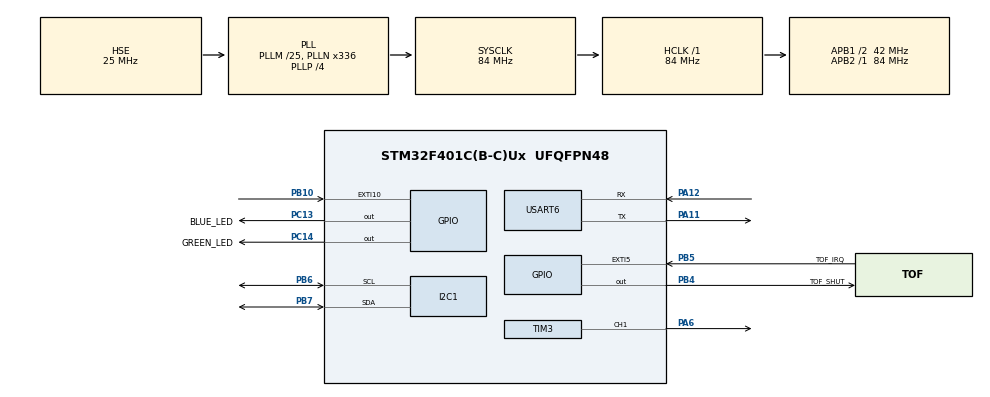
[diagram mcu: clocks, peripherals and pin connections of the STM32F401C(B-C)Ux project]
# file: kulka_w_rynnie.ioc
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FREERTOS.Tasks01=defaultTask,24,128,StartDefaultTask,Default,NULL,Dynamic,NULL,NULL
FREERTOS.configCHECK_FOR_STACK_OVERFLOW=1
FREERTOS.configENABLE_FPU=0
FREERTOS.configGENERATE_RUN_TIME_STATS=1
FREERTOS.configRECORD_STACK_HIGH_ADDRESS=1
FREERTOS.configUSE_STATS_FORMATTING_FUNCTIONS=1
I2C1.I2C_Mode=I2C_Standard
Mcu.Family=STM32F4
Mcu.Name=STM32F401C(B-C)Ux
Mcu.Package=UFQFPN48
NVIC.EXTI15_10_IRQn=true\:5\:0\:true\:false\:true\:true\:true\:true\:true
NVIC.EXTI9_5_IRQn=true\:5\:0\:false\:false\:true\:true\:true\:true\:true
NVIC.PriorityGroup=NVIC_PRIORITYGROUP_4
NVIC.TIM2_IRQn=true\:15\:0\:true\:false\:true\:false\:false\:true\:true
NVIC.TimeBase=TIM2_IRQn
NVIC.TimeBaseIP=TIM2
PA11.Mode=Asynchronous
PA11.Signal=USART6_TX
PA12.Mode=Asynchronous
PA12.Signal=USART6_RX
PA6.Signal=S_TIM3_CH1
PB10.Signal=GPXTI10
PB4.GPIO_Label=TOF_SHUT
PB4.PinState=GPIO_PIN_SET
PB4.Signal=GPIO_Output
PB5.GPIO_Label=TOF_IRQ
PB5.GPIO_PuPd=GPIO_PULLDOWN
PB5.Signal=GPXTI5
PB6.Mode=I2C
PB6.Signal=I2C1_SCL
PB7.Mode=I2C
PB7.Signal=I2C1_SDA
PC13-ANTI_TAMP.GPIO_Label=BLUE_LED
PC13-ANTI_TAMP.PinState=GPIO_PIN_SET
PC13-ANTI_TAMP.Signal=GPIO_Output
PC14-OSC32_IN.GPIO_Label=GREEN_LED
PC14-OSC32_IN.Signal=GPIO_Output
PH0\ -\ OSC_IN.Mode=HSE-External-Oscillator
PH0\ -\ OSC_IN.Signal=RCC_OSC_IN
PH1\ -\ OSC_OUT.Mode=HSE-External-Oscillator
PH1\ -\ OSC_OUT.Signal=RCC_OSC_OUT
ProjectManager.HeapSize=0x1500
ProjectManager.StackSize=0x1600
ProjectManager.TargetToolchain=Makefile
RCC.48MHZClocksFreq_Value=48000000
RCC.AHBFreq_Value=84000000
RCC.APB1CLKDivider=RCC_HCLK_DIV2
RCC.APB1Freq_Value=42000000
RCC.APB1TimFreq_Value=84000000
RCC.APB2Freq_Value=84000000
RCC.APB2TimFreq_Value=84000000
RCC.CortexFreq_Value=84000000
RCC.HCLKFreq_Value=84000000
RCC.HSE_VALUE=25000000
RCC.HSI_VALUE=16000000
RCC.LSE_VALUE=32768
RCC.PLLM=25
RCC.PLLN=336
RCC.PLLP=RCC_PLLP_DIV4
RCC.PLLQ=7
RCC.PLLSourceVirtual=RCC_PLLSOURCE_HSE
RCC.SYSCLKFreq_VALUE=84000000
RCC.SYSCLKSource=RCC_SYSCLKSOURCE_PLLCLK
RCC.VCOOutputFreq_Value=336000000
SH.S_TIM3_CH1.0=TIM3_CH1,PWM Generation1 CH1
TIM3.Channel-PWM\ Generation1\ CH1=TIM_CHANNEL_1
TIM5.Period=3000-1
TIM5.Prescaler=84-1
USART6.VirtualMode=VM_ASYNC
VP_FREERTOS_VS_CMSIS_V2.Mode=CMSIS_V2
VP_SYS_VS_tim2.Mode=TIM2
VP_TIM3_VS_ClockSourceINT.Mode=Internal
VP_TIM5_VS_ClockSourceINT.Mode=Internal
board=custom

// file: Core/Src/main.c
/* USER CODE BEGIN Header */
/**
  ******************************************************************************
  * @file           : main.c
  * @brief          : Main program body
  ******************************************************************************
  * @attention
  *
  * Copyright (c) 2023 STMicroelectronics.
  * All rights reserved.
  *
  * This software is licensed under terms that can be found in the LICENSE file
  * in the root directory of this software component.
  * If no LICENSE file comes with this software, it is provided AS-IS.
  *
  ******************************************************************************
  */
/* USER CODE END Header */
#include "main.h"
#include "cmsis_os.h"
#include "i2c.h"
#include "tim.h"
#include "usart.h"
#include "gpio.h"

/* USER CODE BEGIN Includes */
#include "stdio.h"
#include "vl53l0x_api.h"
#include "mpu6050.h"
/* USER CODE END Includes */

/* USER CODE BEGIN PV */
uint8_t test = 123;
uint8_t whoami = 0;
int16_t gyro_x_raw = 0;
float gyro_scale = 0;
float gyro_x_scaled = 0;
int16_t accel_x_raw = 0;
float accel_scale = 0.0610352;
float accel_x_scaled = 0;

extern VL53L0X_Error Status;

extern VL53L0X_Dev_t  vl53l0x_c; // center module
extern VL53L0X_DEV    Dev;
extern  uint32_t refSpadCount;
extern  uint8_t isApertureSpads;
extern  uint8_t VhvSettings;
extern  uint8_t PhaseCal;
/* USER CODE END PV */

void SystemClock_Config(void);
void MX_FREERTOS_Init(void);

int main(void)
{

  /* MCU Configuration--------------------------------------------------------*/

  /* Reset of all peripherals, Initializes the Flash interface and the Systick. */
  HAL_Init();

  /* Configure the system clock */
  SystemClock_Config();

  /* Initialize all configured peripherals */
  MX_GPIO_Init();
  MX_I2C1_Init();
  MX_TIM3_Init();
  MX_USART6_UART_Init();
  MX_TIM5_Init();
  /* USER CODE BEGIN 2 */
  HAL_TIM_Base_Start(&htim5);
  HAL_Delay(50);

  /* USER CODE END 2 */

  /* Init scheduler */
  osKernelInitialize();

  /* Call init function for freertos objects (in freertos.c) */
  MX_FREERTOS_Init();

  /* Start scheduler */
  osKernelStart();

  /* We should never get here as control is now taken by the scheduler */
  /* Infinite loop */
  while (1)
  {

  }
}

void SystemClock_Config(void)
{
  RCC_OscInitTypeDef RCC_OscInitStruct = {0};
  RCC_ClkInitTypeDef RCC_ClkInitStruct = {0};

  /** Configure the main internal regulator output voltage
  */
  __HAL_RCC_PWR_CLK_ENABLE();
  __HAL_PWR_VOLTAGESCALING_CONFIG(PWR_REGULATOR_VOLTAGE_SCALE2);

  /** Initializes the RCC Oscillators according to the specified parameters
  * in the RCC_OscInitTypeDef structure.
  */
  RCC_OscInitStruct.OscillatorType = RCC_OSCILLATORTYPE_HSE;
  RCC_OscInitStruct.HSEState = RCC_HSE_ON;
  RCC_OscInitStruct.PLL.PLLState = RCC_PLL_ON;
  RCC_OscInitStruct.PLL.PLLSource = RCC_PLLSOURCE_HSE;
  RCC_OscInitStruct.PLL.PLLM = 25;
  RCC_OscInitStruct.PLL.PLLN = 336;
  RCC_OscInitStruct.PLL.PLLP = RCC_PLLP_DIV4;
  RCC_OscInitStruct.PLL.PLLQ = 7;
  if (HAL_RCC_OscConfig(&RCC_OscInitStruct) != HAL_OK)
  {
    Error_Handler();
  }

  /** Initializes the CPU, AHB and APB buses clocks
  */
  RCC_ClkInitStruct.ClockType = RCC_CLOCKTYPE_HCLK|RCC_CLOCKTYPE_SYSCLK
                              |RCC_CLOCKTYPE_PCLK1|RCC_CLOCKTYPE_PCLK2;
  RCC_ClkInitStruct.SYSCLKSource = RCC_SYSCLKSOURCE_PLLCLK;
  RCC_ClkInitStruct.AHBCLKDivider = RCC_SYSCLK_DIV1;
  RCC_ClkInitStruct.APB1CLKDivider = RCC_HCLK_DIV2;
  RCC_ClkInitStruct.APB2CLKDivider = RCC_HCLK_DIV1;

  if (HAL_RCC_ClockConfig(&RCC_ClkInitStruct, FLASH_LATENCY_2) != HAL_OK)
  {
    Error_Handler();
  }
}

/* USER CODE BEGIN 4 */
int _write(int file, char* data, int len)
{
  if(HAL_UART_Transmit(&huart6, (uint8_t*)data, len, 1000) == 0)
    return len;
  else
    return -1;
}
/* USER CODE END 4 */

void HAL_TIM_PeriodElapsedCallback(TIM_HandleTypeDef *htim)
{
  if (htim->Instance == TIM2) {
    HAL_IncTick();
  }
}

void Error_Handler(void)
{
  __disable_irq();
  while (1)
  {
  }
}

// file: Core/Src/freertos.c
/* USER CODE BEGIN Header */
/**
  ******************************************************************************
  * File Name          : freertos.c
  * Description        : Code for freertos applications
  ******************************************************************************
  * @attention
  *
  * Copyright (c) 2023 STMicroelectronics.
  * All rights reserved.
  *
  * This software is licensed under terms that can be found in the LICENSE file
  * in the root directory of this software component.
  * If no LICENSE file comes with this software, it is provided AS-IS.
  *
  ******************************************************************************
  */
/* USER CODE END Header */

#include "FreeRTOS.h"
#include "task.h"
#include "main.h"
#include "cmsis_os.h"

/* USER CODE BEGIN Includes */
#include "queue.h"
#include "stream_buffer.h"
#include "application_tasks.h"
#include "vl53l0x_api.h"
/* USER CODE END Includes */

/* USER CODE BEGIN Variables */
  TaskHandle_t mediator_task_handle, taskh, mpu_task_handle;
  QueueHandle_t message_queue;
  StreamBufferHandle_t isr_to_pid;
/* USER CODE END Variables */
/* Definitions for defaultTask */
osThreadId_t defaultTaskHandle;
const osThreadAttr_t defaultTask_attributes = {
  .name = "defaultTask",
  .stack_size = 128 * 4,
  .priority = (osPriority_t) osPriorityNormal,
};

void StartDefaultTask(void *argument);

void MX_FREERTOS_Init(void); /* (MISRA C 2004 rule 8.1) */

/* Hook prototypes */
void configureTimerForRunTimeStats(void);
unsigned long getRunTimeCounterValue(void);
void vApplicationStackOverflowHook(xTaskHandle xTask, signed char *pcTaskName);

/* USER CODE BEGIN 1 */
/* Functions needed when configGENERATE_RUN_TIME_STATS is on */
__weak void configureTimerForRunTimeStats(void)
{

}

__weak unsigned long getRunTimeCounterValue(void)
{
return 0;
}
/* USER CODE END 1 */

/* USER CODE BEGIN 4 */
void vApplicationStackOverflowHook(xTaskHandle xTask, signed char *pcTaskName)
{
   /* Run time stack overflow checking is performed if
   configCHECK_FOR_STACK_OVERFLOW is defined to 1 or 2. This hook function is
   called if a stack overflow is detected. */
  HAL_GPIO_WritePin(GPIOC, GPIO_PIN_13, GPIO_PIN_SET);
  while(1);
}
/* USER CODE END 4 */

void MX_FREERTOS_Init(void) {
  /* USER CODE BEGIN Init */
  isr_to_pid = xStreamBufferCreate(sizeof(VL53L0X_RangingMeasurementData_t), sizeof(VL53L0X_RangingMeasurementData_t));
  /* USER CODE END Init */

  /* USER CODE BEGIN RTOS_QUEUES */

  message_queue = xQueueCreate(20, sizeof(measurment));
  /* USER CODE END RTOS_QUEUES */

  /* Create the thread(s) */
  /* creation of defaultTask */
  defaultTaskHandle = osThreadNew(StartDefaultTask, NULL, &defaultTask_attributes);

  /* USER CODE BEGIN RTOS_THREADS */
  xTaskCreate(mediator_task, "mediator task", 1000, &message_queue, tskIDLE_PRIORITY + 10, &mediator_task_handle);
  xTaskCreate(mpu_task, " mpu6050 task", 1000, &message_queue, tskIDLE_PRIORITY + 20, &mpu_task_handle);
  xTaskCreate(simple_logger, "Logger", 1000, &message_queue, tskIDLE_PRIORITY + 1, &taskh);
  /* USER CODE END RTOS_THREADS */

}

void StartDefaultTask(void *argument)
{
  for(;;)
  {
    osDelay(1);
  }
}
